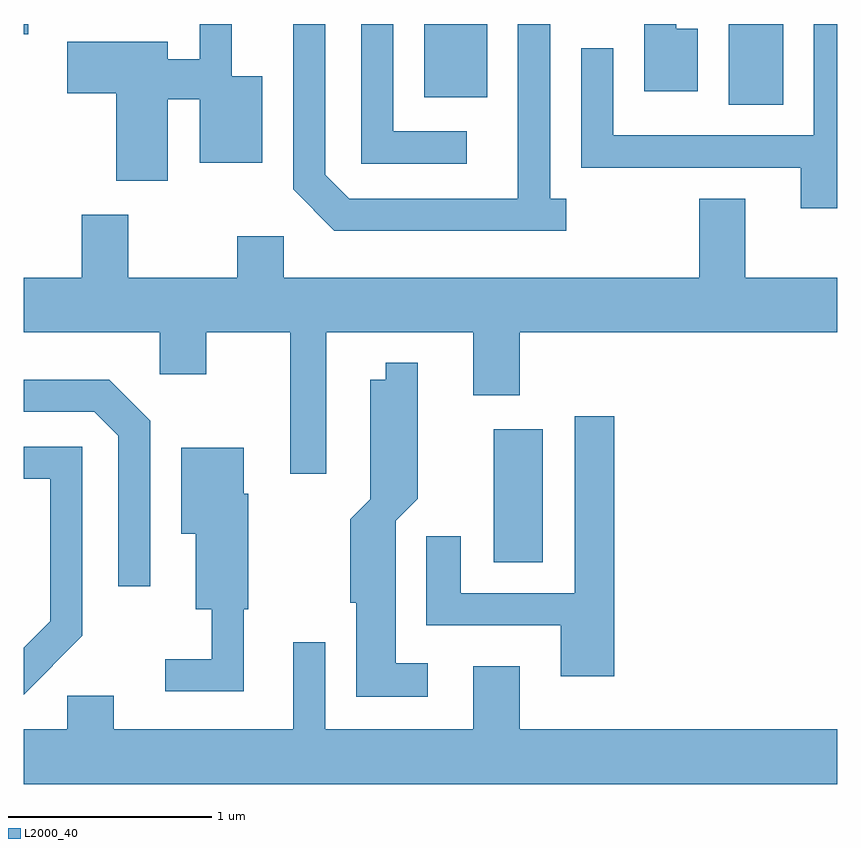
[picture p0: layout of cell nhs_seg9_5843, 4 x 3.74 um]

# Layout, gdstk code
import gdstk
lib = gdstk.Library(unit=1e-6, precision=1e-09)
def R(c, l, rs):  # rectangles x0, y0, x1, y1
    for r in rs: c.add(gdstk.rectangle(r[:2], r[2:], *l))
def P(c, l, *ps):  # polygons
    for p in ps: c.add(gdstk.Polygon(p, *l))
L2000_40 = (2000, 40)

nhs_seg9_5843 = lib.new_cell('nhs_seg9_5843')
R(nhs_seg9_5843, L2000_40, [(359.921,2001.786,360.164,2002.439), (361.076,2004.036,361.344,2004.432), (359.581,2004.071,359.889,2004.432), (357.611,2004.381,357.634,2004.432)])
P(nhs_seg9_5843, L2000_40, [(359.788,2003.904),(359.429,2003.904),(359.429,2004.432),(359.271,2004.432),(359.271,2003.746),(359.788,2003.746)],
  [(360.278,2003.574),(360.199,2003.574),(360.199,2004.432),(360.041,2004.432),(360.041,2003.574),(359.212,2003.574),(359.094,2003.692),(359.094,2004.432),(358.936,2004.432),(358.936,2003.619),(359.139,2003.416),(360.278,2003.416)],
  [(360.924,2004.409),(360.819,2004.409),(360.819,2004.432),(360.661,2004.432),(360.661,2004.101),(360.924,2004.101)],
  [(358.319,2004.061),(358.476,2004.061),(358.476,2003.751),(358.784,2003.751),(358.784,2004.174),(358.634,2004.174),(358.634,2004.432),(358.476,2004.432),(358.476,2004.259),(358.319,2004.259),(358.319,2004.344),(357.826,2004.344),(357.826,2004.091),(358.066,2004.091),(358.066,2003.661),(358.319,2003.661)],
  [(361.611,2004.432),(361.496,2004.432),(361.496,2003.884),(360.509,2003.884),(360.509,2004.313),(360.351,2004.313),(360.351,2003.726),(361.431,2003.726),(361.431,2003.526),(361.611,2003.526)],
  [(359.099,2002.916),(359.821,2002.916),(359.821,2002.606),(360.049,2002.606),(360.049,2002.916),(361.611,2002.916),(361.611,2003.184),(361.159,2003.184),(361.159,2003.574),(360.931,2003.574),(360.931,2003.184),(358.889,2003.184),(358.889,2003.389),(358.661,2003.389),(358.661,2003.184),(358.124,2003.184),(358.124,2003.494),(357.896,2003.494),(357.896,2003.184),(357.611,2003.184),(357.611,2002.916),(358.281,2002.916),(358.281,2002.711),(358.509,2002.711),(358.509,2002.916),(358.921,2002.916),(358.921,2002.221),(359.099,2002.221)],
  [(359.598,2001.289),(359.439,2001.289),(359.439,2001.989),(359.549,2002.099),(359.549,2002.768),(359.391,2002.768),(359.391,2002.684),(359.316,2002.684),(359.316,2002.097),(359.216,2001.997),(359.216,2001.586),(359.246,2001.586),(359.246,2001.126),(359.598,2001.126)],
  [(358.234,2002.482),(358.032,2002.684),(357.611,2002.684),(357.611,2002.526),(357.959,2002.526),(358.076,2002.409),(358.076,2001.668),(358.234,2001.668)],
  [(360.514,2002.504),(360.321,2002.504),(360.321,2001.634),(359.759,2001.634),(359.759,2001.913),(359.591,2001.913),(359.591,2001.476),(360.251,2001.476),(360.251,2001.226),(360.514,2001.226)],
  [(357.899,2001.424),(357.899,2002.354),(357.611,2002.354),(357.611,2002.196),(357.741,2002.196),(357.741,2001.497),(357.611,2001.366),(357.611,2001.135)],
  [(358.694,2001.556),(358.714,2001.556),(358.714,2002.124),(358.694,2002.124),(358.694,2002.349),(358.386,2002.349),(358.386,2001.926),(358.456,2001.926),(358.456,2001.556),(358.536,2001.556),(358.536,2001.309),(358.308,2001.309),(358.308,2001.151),(358.694,2001.151)],
  [(359.821,2001.274),(359.821,2000.964),(359.094,2000.964),(359.094,2001.393),(358.936,2001.393),(358.936,2000.964),(358.054,2000.964),(358.054,2001.129),(357.826,2001.129),(357.826,2000.964),(357.611,2000.964),(357.611,2000.696),(361.611,2000.696),(361.611,2000.964),(360.049,2000.964),(360.049,2001.274)])

lib.write_gds('nhs_seg9_5843.gds')
